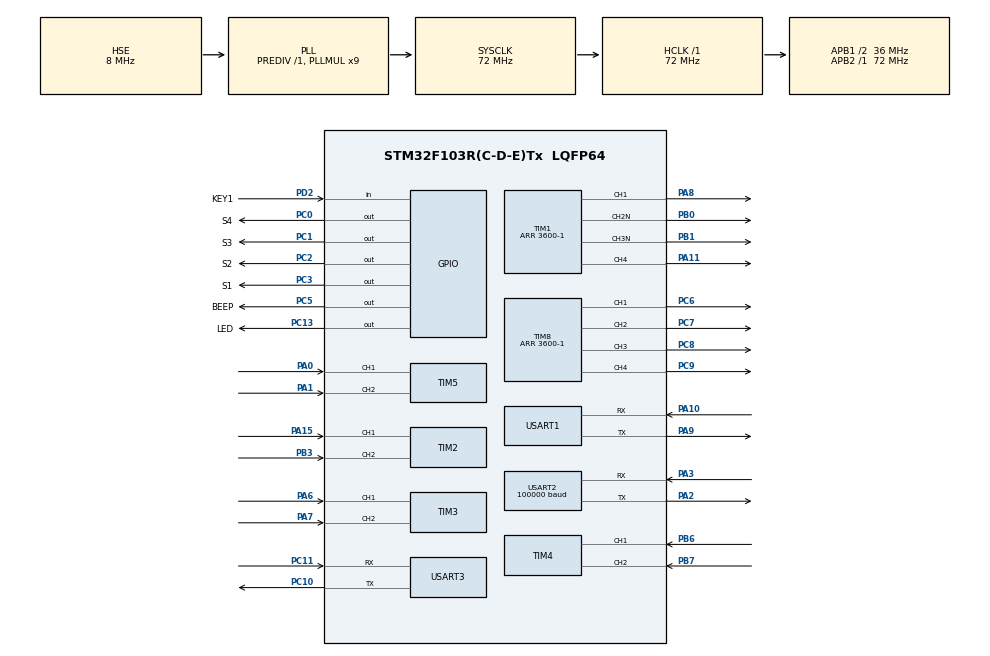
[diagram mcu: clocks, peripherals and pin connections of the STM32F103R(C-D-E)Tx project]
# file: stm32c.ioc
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Dma.Request0=USART1_TX
Dma.Request1=USART1_RX
Dma.Request2=USART2_RX
Dma.USART1_RX.1.Direction=DMA_PERIPH_TO_MEMORY
Dma.USART1_RX.1.Instance=DMA1_Channel5
Dma.USART1_RX.1.MemDataAlignment=DMA_MDATAALIGN_BYTE
Dma.USART1_RX.1.MemInc=DMA_MINC_ENABLE
Dma.USART1_RX.1.Mode=DMA_NORMAL
Dma.USART1_RX.1.PeriphDataAlignment=DMA_PDATAALIGN_BYTE
Dma.USART1_RX.1.PeriphInc=DMA_PINC_DISABLE
Dma.USART1_RX.1.Priority=DMA_PRIORITY_VERY_HIGH
Dma.USART1_TX.0.Direction=DMA_MEMORY_TO_PERIPH
Dma.USART1_TX.0.Instance=DMA1_Channel4
Dma.USART1_TX.0.MemDataAlignment=DMA_MDATAALIGN_BYTE
Dma.USART1_TX.0.MemInc=DMA_MINC_ENABLE
Dma.USART1_TX.0.Mode=DMA_NORMAL
Dma.USART1_TX.0.PeriphDataAlignment=DMA_PDATAALIGN_BYTE
Dma.USART1_TX.0.PeriphInc=DMA_PINC_DISABLE
Dma.USART1_TX.0.Priority=DMA_PRIORITY_VERY_HIGH
Dma.USART2_RX.2.Direction=DMA_PERIPH_TO_MEMORY
Dma.USART2_RX.2.Instance=DMA1_Channel6
Dma.USART2_RX.2.MemDataAlignment=DMA_MDATAALIGN_BYTE
Dma.USART2_RX.2.MemInc=DMA_MINC_ENABLE
Dma.USART2_RX.2.Mode=DMA_NORMAL
Dma.USART2_RX.2.PeriphDataAlignment=DMA_PDATAALIGN_BYTE
Dma.USART2_RX.2.PeriphInc=DMA_PINC_DISABLE
Dma.USART2_RX.2.Priority=DMA_PRIORITY_HIGH
FREERTOS.Mutexes01=reportMutex,Dynamic,NULL,Available;revMutex,Dynamic,NULL,Available;servoMutex,Dynamic,NULL,Available;servocMutex,Dynamic,NULL,Available
FREERTOS.Queues01=uart1RxQueue,5,void*,0,Dynamic,NULL,NULL;sbusQueue,25,25,1,Dynamic,NULL,NULL
FREERTOS.Tasks01=defaultTask,24,128,StartDefaultTask,Default,NULL,Dynamic,NULL,NULL;controlTask,9,256,MotionHandleTask,Default,NULL,Dynamic,NULL,NULL;reportTask,8,128,ReportHandleTask,Default,NULL,Dynamic,NULL,NULL;receiveTask,8,128,ReceiveHandleTask,Default,NULL,Dynamic,NULL,NULL;ServoTask,8,128,ServoHandleTask,Default,NULL,Dynamic,NULL,NULL
FREERTOS.configTOTAL_HEAP_SIZE=8000
Mcu.Family=STM32F1
Mcu.Name=STM32F103R(C-D-E)Tx
Mcu.Package=LQFP64
NVIC.DMA1_Channel4_IRQn=true\:5\:0\:false\:false\:true\:true\:false\:true\:true
NVIC.DMA1_Channel5_IRQn=true\:5\:0\:false\:false\:true\:true\:false\:true\:true
NVIC.DMA1_Channel6_IRQn=true\:5\:0\:false\:false\:true\:true\:false\:true\:true
NVIC.PriorityGroup=NVIC_PRIORITYGROUP_4
NVIC.TIM6_IRQn=true\:15\:0\:false\:false\:true\:false\:false\:true\:true
NVIC.TimeBase=TIM6_IRQn
NVIC.TimeBaseIP=TIM6
NVIC.USART1_IRQn=true\:5\:0\:false\:false\:true\:true\:true\:true\:true
NVIC.USART2_IRQn=true\:5\:0\:false\:false\:true\:true\:true\:true\:true
NVIC.USART3_IRQn=true\:5\:0\:false\:false\:true\:true\:true\:true\:true
PA0-WKUP.Signal=S_TIM5_CH1
PA1.Signal=S_TIM5_CH2
PA10.Mode=Asynchronous
PA10.Signal=USART1_RX
PA11.Signal=S_TIM1_CH4
PA13.Mode=Serial_Wire
PA13.Signal=SYS_JTMS-SWDIO
PA14.Mode=Serial_Wire
PA14.Signal=SYS_JTCK-SWCLK
PA15.Signal=S_TIM2_CH1_ETR
PA2.Mode=Asynchronous
PA2.Signal=USART2_TX
PA3.Mode=Asynchronous
PA3.Signal=USART2_RX
PA6.Signal=S_TIM3_CH1
PA7.Signal=S_TIM3_CH2
PA8.Signal=S_TIM1_CH1
PA9.Mode=Asynchronous
PA9.Signal=USART1_TX
PB0.Mode=PWM Generation2 CH2N
PB0.Signal=TIM1_CH2N
PB1.Mode=PWM Generation3 CH3N
PB1.Signal=TIM1_CH3N
PB3.Signal=S_TIM2_CH2
PB6.Signal=S_TIM4_CH1
PB7.Signal=S_TIM4_CH2
PC0.GPIO_Label=S4
PC0.GPIO_Speed=GPIO_SPEED_FREQ_HIGH
PC0.Signal=GPIO_Output
PC1.GPIO_Label=S3
PC1.GPIO_Speed=GPIO_SPEED_FREQ_HIGH
PC1.Signal=GPIO_Output
PC10.Mode=Asynchronous
PC10.Signal=USART3_TX
PC11.Mode=Asynchronous
PC11.Signal=USART3_RX
PC13-TAMPER-RTC.GPIO_Label=LED
PC13-TAMPER-RTC.Signal=GPIO_Output
PC2.GPIO_Label=S2
PC2.Signal=GPIO_Output
PC3.GPIO_Label=S1
PC3.Signal=GPIO_Output
PC5.GPIO_Label=BEEP
PC5.Signal=GPIO_Output
PC6.Signal=S_TIM8_CH1
PC7.Signal=S_TIM8_CH2
PC8.Signal=S_TIM8_CH3
PC9.Signal=S_TIM8_CH4
PD0-OSC_IN.Mode=HSE-External-Oscillator
PD0-OSC_IN.Signal=RCC_OSC_IN
PD1-OSC_OUT.Mode=HSE-External-Oscillator
PD1-OSC_OUT.Signal=RCC_OSC_OUT
PD2.GPIO_Label=KEY1
PD2.GPIO_PuPd=GPIO_PULLUP
PD2.Signal=GPIO_Input
ProjectManager.HeapSize=0x200
ProjectManager.StackSize=0x400
ProjectManager.TargetToolchain=CMake
RCC.AHBFreq_Value=72000000
RCC.APB1CLKDivider=RCC_HCLK_DIV2
RCC.APB1Freq_Value=36000000
RCC.APB1TimFreq_Value=72000000
RCC.APB2Freq_Value=72000000
RCC.APB2TimFreq_Value=72000000
RCC.HCLKFreq_Value=72000000
RCC.PLLMUL=RCC_PLL_MUL9
RCC.PLLSourceVirtual=RCC_PLLSOURCE_HSE
RCC.SYSCLKFreq_VALUE=72000000
RCC.SYSCLKSource=RCC_SYSCLKSOURCE_PLLCLK
RCC.USBFreq_Value=72000000
SH.S_TIM1_CH1.0=TIM1_CH1,PWM Generation1 CH1
SH.S_TIM1_CH4.0=TIM1_CH4,PWM Generation4 CH4
SH.S_TIM2_CH1_ETR.0=TIM2_CH1,Encoder_Interface
SH.S_TIM2_CH2.0=TIM2_CH2,Encoder_Interface
SH.S_TIM3_CH1.0=TIM3_CH1,Encoder_Interface
SH.S_TIM3_CH2.0=TIM3_CH2,Encoder_Interface
SH.S_TIM4_CH1.0=TIM4_CH1,Encoder_Interface
SH.S_TIM4_CH2.0=TIM4_CH2,Encoder_Interface
SH.S_TIM5_CH1.0=TIM5_CH1,Encoder_Interface
SH.S_TIM5_CH2.0=TIM5_CH2,Encoder_Interface
SH.S_TIM8_CH1.0=TIM8_CH1,PWM Generation1 CH1
SH.S_TIM8_CH2.0=TIM8_CH2,PWM Generation2 CH2
SH.S_TIM8_CH3.0=TIM8_CH3,PWM Generation3 CH3
SH.S_TIM8_CH4.0=TIM8_CH4,PWM Generation4 CH4
TIM1.AutoReloadPreload=TIM_AUTORELOAD_PRELOAD_ENABLE
TIM1.Channel-PWM\ Generation1\ CH1=TIM_CHANNEL_1
TIM1.Channel-PWM\ Generation2\ CH2N=TIM_CHANNEL_2
TIM1.Channel-PWM\ Generation3\ CH3N=TIM_CHANNEL_3
TIM1.Channel-PWM\ Generation4\ CH4=TIM_CHANNEL_4
TIM1.Period=3600-1
TIM2.EncoderMode=TIM_ENCODERMODE_TI12
TIM3.EncoderMode=TIM_ENCODERMODE_TI12
TIM4.EncoderMode=TIM_ENCODERMODE_TI12
TIM5.EncoderMode=TIM_ENCODERMODE_TI12
TIM8.AutoReloadPreload=TIM_AUTORELOAD_PRELOAD_ENABLE
TIM8.Channel-PWM\ Generation1\ CH1=TIM_CHANNEL_1
TIM8.Channel-PWM\ Generation2\ CH2=TIM_CHANNEL_2
TIM8.Channel-PWM\ Generation3\ CH3=TIM_CHANNEL_3
TIM8.Channel-PWM\ Generation4\ CH4=TIM_CHANNEL_4
TIM8.Period=3600-1
USART1.VirtualMode=VM_ASYNC
USART2.BaudRate=100000
USART2.Mode=MODE_RX
USART2.Parity=PARITY_EVEN
USART2.StopBits=STOPBITS_2
USART2.VirtualMode=VM_ASYNC
USART2.WordLength=WORDLENGTH_9B
USART3.VirtualMode=VM_ASYNC
VP_FREERTOS_VS_CMSIS_V2.Mode=CMSIS_V2
VP_SYS_VS_tim6.Mode=TIM6
VP_TIM7_VS_ClockSourceINT.Mode=Enable_Timer
board=custom

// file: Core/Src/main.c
/* USER CODE BEGIN Header */
/**
  ******************************************************************************
  * @file           : main.c
  * @brief          : Main program body
  ******************************************************************************
  * @attention
  *
  * Copyright (c) 2025 STMicroelectronics.
  * All rights reserved.
  *
  * This software is licensed under terms that can be found in the LICENSE file
  * in the root directory of this software component.
  * If no LICENSE file comes with this software, it is provided AS-IS.
  *
  ******************************************************************************
  */
/* USER CODE END Header */
#include "main.h"
#include "cmsis_os.h"
#include "dma.h"
#include "tim.h"
#include "usart.h"
#include "gpio.h"

void SystemClock_Config(void);
void MX_FREERTOS_Init(void);

int main(void)
{

  /* MCU Configuration--------------------------------------------------------*/

  /* Reset of all peripherals, Initializes the Flash interface and the Systick. */
  HAL_Init();

  /* Configure the system clock */
  SystemClock_Config();

  /* Initialize all configured peripherals */
  MX_GPIO_Init();
  MX_DMA_Init();
  MX_USART1_UART_Init();
  MX_TIM7_Init();
  MX_TIM1_Init();
  MX_TIM8_Init();
  MX_TIM2_Init();
  MX_TIM3_Init();
  MX_TIM4_Init();
  MX_TIM5_Init();
  MX_USART3_UART_Init();
  MX_USART2_UART_Init();

  /* Init scheduler */
  osKernelInitialize();  /* Call init function for freertos objects (in cmsis_os2.c) */
  MX_FREERTOS_Init();

  /* Start scheduler */
  osKernelStart();

  /* We should never get here as control is now taken by the scheduler */

  /* Infinite loop */
  while (1)
  {

  }
}

void SystemClock_Config(void)
{
  RCC_OscInitTypeDef RCC_OscInitStruct = {0};
  RCC_ClkInitTypeDef RCC_ClkInitStruct = {0};

  /** Initializes the RCC Oscillators according to the specified parameters
  * in the RCC_OscInitTypeDef structure.
  */
  RCC_OscInitStruct.OscillatorType = RCC_OSCILLATORTYPE_HSE;
  RCC_OscInitStruct.HSEState = RCC_HSE_ON;
  RCC_OscInitStruct.HSEPredivValue = RCC_HSE_PREDIV_DIV1;
  RCC_OscInitStruct.HSIState = RCC_HSI_ON;
  RCC_OscInitStruct.PLL.PLLState = RCC_PLL_ON;
  RCC_OscInitStruct.PLL.PLLSource = RCC_PLLSOURCE_HSE;
  RCC_OscInitStruct.PLL.PLLMUL = RCC_PLL_MUL9;
  if (HAL_RCC_OscConfig(&RCC_OscInitStruct) != HAL_OK)
  {
    Error_Handler();
  }

  /** Initializes the CPU, AHB and APB buses clocks
  */
  RCC_ClkInitStruct.ClockType = RCC_CLOCKTYPE_HCLK|RCC_CLOCKTYPE_SYSCLK
                              |RCC_CLOCKTYPE_PCLK1|RCC_CLOCKTYPE_PCLK2;
  RCC_ClkInitStruct.SYSCLKSource = RCC_SYSCLKSOURCE_PLLCLK;
  RCC_ClkInitStruct.AHBCLKDivider = RCC_SYSCLK_DIV1;
  RCC_ClkInitStruct.APB1CLKDivider = RCC_HCLK_DIV2;
  RCC_ClkInitStruct.APB2CLKDivider = RCC_HCLK_DIV1;

  if (HAL_RCC_ClockConfig(&RCC_ClkInitStruct, FLASH_LATENCY_2) != HAL_OK)
  {
    Error_Handler();
  }
}

void HAL_TIM_PeriodElapsedCallback(TIM_HandleTypeDef *htim)
{
  if (htim->Instance == TIM6)
  {
    HAL_IncTick();
  }
  /* USER CODE BEGIN Callback 1 */
  if (htim->Instance == htim7.Instance)
  {
    PwmServo_Handle();
  }
  /* USER CODE END Callback 1 */
}

void Error_Handler(void)
{
  __disable_irq();
  while (1)
  {
  }
}

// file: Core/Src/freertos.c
/* USER CODE BEGIN Header */
/**
  ******************************************************************************
  * File Name          : freertos.c
  * Description        : Code for freertos applications
  ******************************************************************************
  * @attention
  *
  * Copyright (c) 2025 STMicroelectronics.
  * All rights reserved.
  *
  * This software is licensed under terms that can be found in the LICENSE file
  * in the root directory of this software component.
  * If no LICENSE file comes with this software, it is provided AS-IS.
  *
  ******************************************************************************
  */
/* USER CODE END Header */

#include "FreeRTOS.h"
#include "task.h"
#include "main.h"
#include "cmsis_os.h"

/* USER CODE BEGIN Includes */
#include <string.h>

#include "bsp.h"
#include "bsp_motion.h"
#include "bsp_uart_servo.h"
#include "queue.h"
/* USER CODE END Includes */

/* USER CODE BEGIN PTD */
#define UART_BUFFER_QUEUE (5)
#define UART_BUFFER_SIZE (256)
extern car_data_t car_data;
extern car_data_t car_data_ta;
UART_RX_TypeDef uart_rx_data_t[UART_BUFFER_QUEUE];
extern uint8_t uart_buff_ctrl;
extern uint16_t Servo_Ctrl;
/* USER CODE END PTD */

/* Definitions for defaultTask */
osThreadId_t defaultTaskHandle;
const osThreadAttr_t defaultTask_attributes = {
  .name = "defaultTask",
  .stack_size = 128 * 4,
  .priority = (osPriority_t) osPriorityNormal,
};
/* Definitions for controlTask */
osThreadId_t controlTaskHandle;
const osThreadAttr_t controlTask_attributes = {
  .name = "controlTask",
  .stack_size = 256 * 4,
  .priority = (osPriority_t) osPriorityLow1,
};
/* Definitions for reportTask */
osThreadId_t reportTaskHandle;
const osThreadAttr_t reportTask_attributes = {
  .name = "reportTask",
  .stack_size = 128 * 4,
  .priority = (osPriority_t) osPriorityLow,
};
/* Definitions for receiveTask */
osThreadId_t receiveTaskHandle;
const osThreadAttr_t receiveTask_attributes = {
  .name = "receiveTask",
  .stack_size = 128 * 4,
  .priority = (osPriority_t) osPriorityLow,
};
/* Definitions for ServoTask */
osThreadId_t ServoTaskHandle;
const osThreadAttr_t ServoTask_attributes = {
  .name = "ServoTask",
  .stack_size = 128 * 4,
  .priority = (osPriority_t) osPriorityLow,
};
/* Definitions for uart1RxQueue */
osMessageQueueId_t uart1RxQueueHandle;
const osMessageQueueAttr_t uart1RxQueue_attributes = {
  .name = "uart1RxQueue"
};
/* Definitions for sbusQueue */
osMessageQueueId_t sbusQueueHandle;
const osMessageQueueAttr_t sbusQueue_attributes = {
  .name = "sbusQueue"
};
/* Definitions for reportMutex */
osMutexId_t reportMutexHandle;
const osMutexAttr_t reportMutex_attributes = {
  .name = "reportMutex"
};
/* Definitions for revMutex */
osMutexId_t revMutexHandle;
const osMutexAttr_t revMutex_attributes = {
  .name = "revMutex"
};
/* Definitions for servoMutex */
osMutexId_t servoMutexHandle;
const osMutexAttr_t servoMutex_attributes = {
  .name = "servoMutex"
};
/* Definitions for servocMutex */
osMutexId_t servocMutexHandle;
const osMutexAttr_t servocMutex_attributes = {
  .name = "servocMutex"
};

void StartDefaultTask(void *argument);
void MotionHandleTask(void *argument);
void ReportHandleTask(void *argument);
void ReceiveHandleTask(void *argument);
void ServoHandleTask(void *argument);

void MX_FREERTOS_Init(void); /* (MISRA C 2004 rule 8.1) */

void MX_FREERTOS_Init(void) {
  /* Create the mutex(es) */
  /* creation of reportMutex */
  reportMutexHandle = osMutexNew(&reportMutex_attributes);

  /* creation of revMutex */
  revMutexHandle = osMutexNew(&revMutex_attributes);

  /* creation of servoMutex */
  servoMutexHandle = osMutexNew(&servoMutex_attributes);

  /* creation of servocMutex */
  servocMutexHandle = osMutexNew(&servocMutex_attributes);

  /* Create the queue(s) */
  /* creation of uart1RxQueue */
  uart1RxQueueHandle = osMessageQueueNew (5, sizeof(void*), &uart1RxQueue_attributes);

  /* creation of sbusQueue */
  sbusQueueHandle = osMessageQueueNew (25, 25, &sbusQueue_attributes);

  /* Create the thread(s) */
  /* creation of defaultTask */
  defaultTaskHandle = osThreadNew(StartDefaultTask, NULL, &defaultTask_attributes);

  /* creation of controlTask */
  controlTaskHandle = osThreadNew(MotionHandleTask, NULL, &controlTask_attributes);

  /* creation of reportTask */
  reportTaskHandle = osThreadNew(ReportHandleTask, NULL, &reportTask_attributes);

  /* creation of receiveTask */
  receiveTaskHandle = osThreadNew(ReceiveHandleTask, NULL, &receiveTask_attributes);

  /* creation of ServoTask */
  ServoTaskHandle = osThreadNew(ServoHandleTask, NULL, &ServoTask_attributes);

}

void StartDefaultTask(void *argument)
{
  /* USER CODE BEGIN StartDefaultTask */
  Bsp_Init();
  /* Infinite loop */
  for(;;)
  {
    Bsp_Loop();

    osDelay(10);
  }
  /* USER CODE END StartDefaultTask */
}

void MotionHandleTask(void *argument)
{
  /* USER CODE BEGIN MotionHandleTask */
  /* Infinite loop */
  for(;;)
  {
    Motion_Handle();
    osDelay(10);
  }
  /* USER CODE END MotionHandleTask */
}

void ReportHandleTask(void *argument)
{
  /* USER CODE BEGIN ReportHandleTask */
  /* Infinite loop */
  // for(;;){    osDelay(10);};
  for(;;)
  {
    car_data_t temp;
    if (osMutexAcquire(reportMutexHandle, 10) == osOK)
    {
      temp = car_data; // 先拷贝
      osMutexRelease(reportMutexHandle); // 立刻释放
    }

    // 封装数据为协议帧
    uint8_t buf[11];
    int16_t vx_i = (int16_t)temp.Vx;
    int16_t vy_i = (int16_t)temp.Vy;
    int16_t vz_i = (int16_t)(temp.Vz*1000);

    buf[0] = 0xAA;      // SOF
    buf[1] = 6;         // 数据长度
    buf[2] = 0x10;      // CMD
    buf[3] = vx_i & 0xFF;
    buf[4] = (vx_i >> 8) & 0xFF;
    buf[5] = vy_i & 0xFF;
    buf[6] = (vy_i >> 8) & 0xFF;
    buf[7] = vz_i & 0xFF;
    buf[8] = (vz_i >> 8) & 0xFF;
    buf[9] = buf[1] ^ buf[2] ^ buf[3] ^ buf[4] ^ buf[5] ^ buf[6] ^ buf[7] ^ buf[8]; // 简单 CRC
    buf[10] = 0x55;     // EOF
    USART1_Send_ArrayU8(buf, 11);
    osDelay(20);
  }
  /* USER CODE END ReportHandleTask */
}

void ReceiveHandleTask(void *argument)
{
  /* USER CODE BEGIN ReceiveHandleTask */
  /* Infinite loop */
  uint8_t byte;
  uint8_t buf[20];  // 缓冲解析帧
  uint8_t idx = 0;
  HAL_UART_Receive_DMA(&huart1 ,uart_rx_data_t[uart_buff_ctrl].buffer,UART_BUFFER_SIZE);
  UART_RX_TypeDef *RecvUartData;//定义一个结构体指针，用来存储接收的数据的.buffer和.size
  enum FrameState {
    WAIT_SOF,
    WAIT_LEN,
    WAIT_CMD,
    WAIT_DATA,
    WAIT_CRC,
    WAIT_EOF
} state = WAIT_SOF;

  uint8_t len = 0, cmd = 0, crc = 0;
  uint8_t data[6];
  uint8_t data_idx = 0;
    int16_t vx,vy,vz;
for (;;)
    {
        // 阻塞读取队列，RecvUartData 是指向 DMA 缓冲区的指针
        if (xQueueReceive(uart1RxQueueHandle, &RecvUartData, portMAX_DELAY) == pdTRUE)
        {
            for (int i = 0; i < RecvUartData->size; i++)
            {
                uint8_t byte = RecvUartData->buffer[i];

                switch (state)
                {
                    case WAIT_SOF:
                        if (byte == 0xAA)  // SOF
                        {
                            state = WAIT_LEN;
                            crc = 0;
                        }
                        break;

                    case WAIT_LEN:
                        len = byte;
                        crc ^= len;
                        state = WAIT_CMD;
                        break;

                    case WAIT_CMD:
                        cmd = byte;
                        crc ^= cmd;
                        data_idx = 0;
                        if (len == 7 && cmd == 0x20)  // CMD_CTRL
                            state = WAIT_DATA;
                        else
                            state = WAIT_SOF;  // 异常帧
                        break;

                    case WAIT_DATA:
                        data[data_idx++] = byte;
                        crc ^= byte;
                        if (data_idx >= 6)
                            state = WAIT_CRC;
                        break;

                    case WAIT_CRC:
                        if (byte == crc)
                            state = WAIT_EOF;
                        else
                            state = WAIT_SOF;  // CRC错误
                        break;

                    case WAIT_EOF:
                        if (byte == 0x55)  // EOF
                        {
                            vx = data[0] | (data[1] << 8);
                           vy = data[2] | (data[3] << 8);
                            vz = data[4] | (data[5] << 8);

                            if (g_ctrl_mode == CTRL_MODE_PC) {

                                Motion_Ctrl(vx, vy, vz); // 上位机控制才执行
                            }
                        }
                        state = WAIT_SOF;
                        break;
                }
            }
        }
    }
  /* USER CODE END ReceiveHandleTask */
}

void ServoHandleTask(void *argument)
{
  /* USER CODE BEGIN ServoHandleTask */
  /* Infinite loop */
    uint8_t servo_id = 0x01;
  for(;;)
  {
      if (osMutexAcquire(servocMutexHandle, 1) == osOK)
      {
          UartServo_Ctrl(servo_id, Servo_Ctrl, 1000);
          osMutexRelease(servocMutexHandle);
      }
      osDelay(10);
      UartServo_Get_Angle(servo_id);
      osDelay(10);
      UartServo_Rx_Parse();
      osDelay(10);
  }
  /* USER CODE END ServoHandleTask */
}
